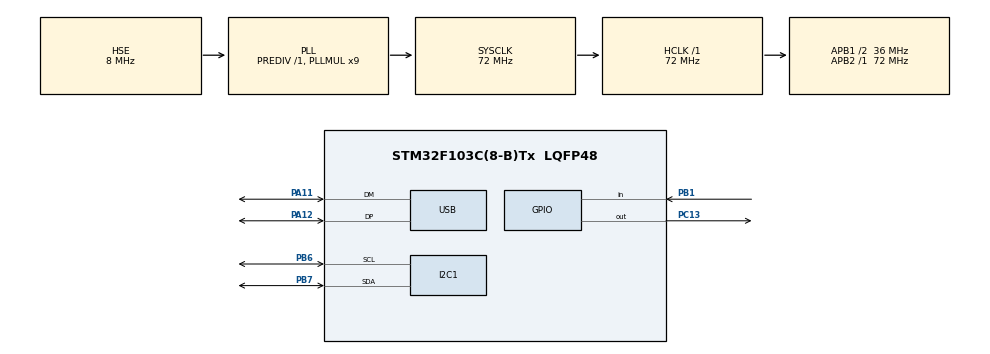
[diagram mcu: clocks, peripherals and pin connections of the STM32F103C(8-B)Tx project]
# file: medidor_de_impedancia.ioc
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Mcu.Family=STM32F1
Mcu.Name=STM32F103C(8-B)Tx
Mcu.Package=LQFP48
NVIC.PriorityGroup=NVIC_PRIORITYGROUP_4
NVIC.USB_LP_CAN1_RX0_IRQn=true\:0\:0\:false\:false\:true\:true\:true\:true
PA11.Mode=Device
PA11.Signal=USB_DM
PA12.Mode=Device
PA12.Signal=USB_DP
PA13.Mode=Serial_Wire
PA13.Signal=SYS_JTMS-SWDIO
PA14.Mode=Serial_Wire
PA14.Signal=SYS_JTCK-SWCLK
PB1.GPIO_PuPd=GPIO_PULLUP
PB1.Signal=GPIO_Input
PB6.Mode=I2C
PB6.Signal=I2C1_SCL
PB7.Mode=I2C
PB7.Signal=I2C1_SDA
PC13-TAMPER-RTC.PinState=GPIO_PIN_SET
PC13-TAMPER-RTC.Signal=GPIO_Output
PD0-OSC_IN.Mode=HSE-External-Oscillator
PD0-OSC_IN.Signal=RCC_OSC_IN
PD1-OSC_OUT.Mode=HSE-External-Oscillator
PD1-OSC_OUT.Signal=RCC_OSC_OUT
ProjectManager.HeapSize=0x200
ProjectManager.StackSize=0x400
ProjectManager.TargetToolchain=STM32CubeIDE
RCC.AHBFreq_Value=72000000
RCC.APB1CLKDivider=RCC_HCLK_DIV2
RCC.APB1Freq_Value=36000000
RCC.APB1TimFreq_Value=72000000
RCC.APB2Freq_Value=72000000
RCC.APB2TimFreq_Value=72000000
RCC.HCLKFreq_Value=72000000
RCC.PLLMUL=RCC_PLL_MUL9
RCC.PLLSourceVirtual=RCC_PLLSOURCE_HSE
RCC.SYSCLKFreq_VALUE=72000000
RCC.SYSCLKSource=RCC_SYSCLKSOURCE_PLLCLK
RCC.USBFreq_Value=48000000
RCC.USBPrescaler=RCC_USBCLKSOURCE_PLL_DIV1_5
USB_DEVICE.CLASS_NAME_FS=CDC
USB_DEVICE.VirtualMode=Cdc
USB_DEVICE.VirtualModeFS=Cdc_FS
VP_USB_DEVICE_VS_USB_DEVICE_CDC_FS.Mode=CDC_FS
board=custom

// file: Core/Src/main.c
/* USER CODE BEGIN Header */
/**
  ******************************************************************************
  * @file           : main.c
  * @brief          : Main program body
  ******************************************************************************
  * @attention
  *
  * Copyright (c) 2026 STMicroelectronics.
  * All rights reserved.
  *
  * This software is licensed under terms that can be found in the LICENSE file
  * in the root directory of this software component.
  * If no LICENSE file comes with this software, it is provided AS-IS.
  *
  ******************************************************************************
  */
/* USER CODE END Header */
#include "main.h"
#include "usb_device.h"

/* USER CODE BEGIN Includes */
#include "ad5933_stm32_2.h"
#include "funcoes_ad5933.h"
/* USER CODE END Includes */

/* USER CODE BEGIN PTD */
typedef enum
    {
        PH_PROMPT,
        PH_WAIT_BUTTON,
        PH_MEASURE,
        PH_FINISHED
    } Phase_t;
/* USER CODE END PTD */

/* USER CODE BEGIN PD */
#define LED_GPIO_PORT           GPIOC
#define LED_GPIO_PIN            GPIO_PIN_13

#define BTN_GPIO_PORT           GPIOB
#define BTN_GPIO_PIN            GPIO_PIN_1
/* USER CODE END PD */

I2C_HandleTypeDef hi2c1;

/* USER CODE BEGIN PV */

    Phase_t phase = PH_PROMPT;
    uint8_t test_index = 0;
    uint32_t led_last_toggle = 0;
    HAL_StatusTypeDef status;
/* USER CODE END PV */

void SystemClock_Config(void);
static void MX_GPIO_Init(void);
static void MX_I2C1_Init(void);

int main(void)
{

  /* MCU Configuration--------------------------------------------------------*/

  /* Reset of all peripherals, Initializes the Flash interface and the Systick. */
  HAL_Init();

  /* Configure the system clock */
  SystemClock_Config();

  /* Initialize all configured peripherals */
  MX_GPIO_Init();
  MX_I2C1_Init();
  MX_USB_DEVICE_Init();
  /* USER CODE BEGIN 2 */

  // Aguarda configuração / abertura da porta USB ou timeout de 3s para evitar perda de dados
  wait_usb_ready(3000);

  // Inicia hardware CI
  ad5933_hw_init();

  /* USER CODE END 2 */

  /* Infinite loop */
  while (1)
  {

    /* USER CODE BEGIN 3 */
	  /*
	   * Heartbeat LED.
	   */
	  if ((HAL_GetTick() - led_last_toggle) >= 500)
	  {
		  led_last_toggle = HAL_GetTick();
		  HAL_GPIO_TogglePin(LED_GPIO_PORT, LED_GPIO_PIN);
	  }

	  switch (phase)
	  {
		  case PH_PROMPT:
		  {
			  if (test_index >= test_count)
			  {
				  uart_puts("\r\nAll tests complete.\r\n");
				  uart_puts("Press button to restart.\r\n");
				  phase = PH_FINISHED;
				  break;
			  }

			  uart_puts("\r\n----------------------------------------\r\n");
			  uart_puts("Test ");
			  uart_print_u32(test_index + 1);
			  uart_puts("/");
			  uart_print_u32(test_count);
			  uart_puts(": ");
			  uart_puts(tests[test_index].name);
			  uart_puts("\r\n");

			  uart_puts(tests[test_index].prompt);
			  uart_puts("\r\n");

			  if (tests[test_index].type == TEST_TYPE_CAL_RES)
			  {
				  uart_puts("This step calibrates the system.\r\n");
			  }
			  else
			  {
				  uart_puts("Using stored gain factor.\r\n");
			  }

			  uart_puts("Press button to measure.\r\n");

			  phase = PH_WAIT_BUTTON;
			  break;
		  }

		  case PH_WAIT_BUTTON:
		  {
			  if (button_pressed_event())
			  {
				  phase = PH_MEASURE;
			  }

			  break;
		  }

		  case PH_MEASURE:
		  {
			  uart_puts("Measuring...\r\n");

			  status = run_test(&tests[test_index]);

			  if (status != HAL_OK)
			  {
				  uart_puts("Measurement failed, status=");
				  uart_print_u32((uint32_t)status);
				  uart_puts("\r\n");
			  }

			  test_index++;
			  phase = PH_PROMPT;

			  break;
		  }

		  case PH_FINISHED:
		  {
			  if (button_pressed_event())
			  {
				  test_index = 0;
				  tests_reset_calibration();
				  phase = PH_PROMPT;

				  uart_puts("\r\nRestarting test sequence.\r\n");
			  }

			  break;
		  }

		  default:
		  {
			  phase = PH_PROMPT;
			  break;
		  }
	  }
  }
  /* USER CODE END 3 */
}

void SystemClock_Config(void)
{
  RCC_OscInitTypeDef RCC_OscInitStruct = {0};
  RCC_ClkInitTypeDef RCC_ClkInitStruct = {0};
  RCC_PeriphCLKInitTypeDef PeriphClkInit = {0};

  /** Initializes the RCC Oscillators according to the specified parameters
  * in the RCC_OscInitTypeDef structure.
  */
  RCC_OscInitStruct.OscillatorType = RCC_OSCILLATORTYPE_HSE;
  RCC_OscInitStruct.HSEState = RCC_HSE_ON;
  RCC_OscInitStruct.HSEPredivValue = RCC_HSE_PREDIV_DIV1;
  RCC_OscInitStruct.HSIState = RCC_HSI_ON;
  RCC_OscInitStruct.PLL.PLLState = RCC_PLL_ON;
  RCC_OscInitStruct.PLL.PLLSource = RCC_PLLSOURCE_HSE;
  RCC_OscInitStruct.PLL.PLLMUL = RCC_PLL_MUL9;
  if (HAL_RCC_OscConfig(&RCC_OscInitStruct) != HAL_OK)
  {
    Error_Handler();
  }

  /** Initializes the CPU, AHB and APB buses clocks
  */
  RCC_ClkInitStruct.ClockType = RCC_CLOCKTYPE_HCLK|RCC_CLOCKTYPE_SYSCLK
                              |RCC_CLOCKTYPE_PCLK1|RCC_CLOCKTYPE_PCLK2;
  RCC_ClkInitStruct.SYSCLKSource = RCC_SYSCLKSOURCE_PLLCLK;
  RCC_ClkInitStruct.AHBCLKDivider = RCC_SYSCLK_DIV1;
  RCC_ClkInitStruct.APB1CLKDivider = RCC_HCLK_DIV2;
  RCC_ClkInitStruct.APB2CLKDivider = RCC_HCLK_DIV1;

  if (HAL_RCC_ClockConfig(&RCC_ClkInitStruct, FLASH_LATENCY_2) != HAL_OK)
  {
    Error_Handler();
  }
  PeriphClkInit.PeriphClockSelection = RCC_PERIPHCLK_USB;
  PeriphClkInit.UsbClockSelection = RCC_USBCLKSOURCE_PLL_DIV1_5;
  if (HAL_RCCEx_PeriphCLKConfig(&PeriphClkInit) != HAL_OK)
  {
    Error_Handler();
  }
}

static void MX_I2C1_Init(void)
{

  hi2c1.Instance = I2C1;
  hi2c1.Init.ClockSpeed = 100000;
  hi2c1.Init.DutyCycle = I2C_DUTYCYCLE_2;
  hi2c1.Init.OwnAddress1 = 0;
  hi2c1.Init.AddressingMode = I2C_ADDRESSINGMODE_7BIT;
  hi2c1.Init.DualAddressMode = I2C_DUALADDRESS_DISABLE;
  hi2c1.Init.OwnAddress2 = 0;
  hi2c1.Init.GeneralCallMode = I2C_GENERALCALL_DISABLE;
  hi2c1.Init.NoStretchMode = I2C_NOSTRETCH_DISABLE;
  if (HAL_I2C_Init(&hi2c1) != HAL_OK)
  {
    Error_Handler();
  }

}

static void MX_GPIO_Init(void)
{
  GPIO_InitTypeDef GPIO_InitStruct = {0};

  /* GPIO Ports Clock Enable */
  __HAL_RCC_GPIOC_CLK_ENABLE();
  __HAL_RCC_GPIOD_CLK_ENABLE();
  __HAL_RCC_GPIOB_CLK_ENABLE();
  __HAL_RCC_GPIOA_CLK_ENABLE();

  /*Configure GPIO pin Output Level */
  HAL_GPIO_WritePin(GPIOC, GPIO_PIN_13, GPIO_PIN_SET);

  /*Configure GPIO pin : PC13 */
  GPIO_InitStruct.Pin = GPIO_PIN_13;
  GPIO_InitStruct.Mode = GPIO_MODE_OUTPUT_PP;
  GPIO_InitStruct.Pull = GPIO_NOPULL;
  GPIO_InitStruct.Speed = GPIO_SPEED_FREQ_LOW;
  HAL_GPIO_Init(GPIOC, &GPIO_InitStruct);

  /*Configure GPIO pin : PB1 */
  GPIO_InitStruct.Pin = GPIO_PIN_1;
  GPIO_InitStruct.Mode = GPIO_MODE_INPUT;
  GPIO_InitStruct.Pull = GPIO_PULLUP;
  HAL_GPIO_Init(GPIOB, &GPIO_InitStruct);

}

void Error_Handler(void)
{
  __disable_irq();
  while (1)
  {
  }
}
